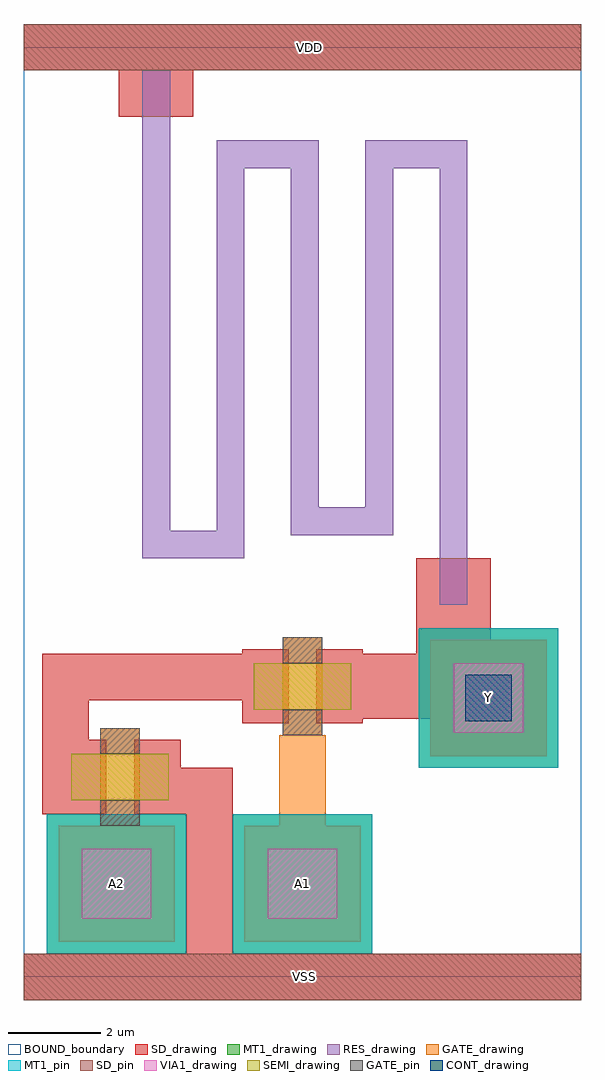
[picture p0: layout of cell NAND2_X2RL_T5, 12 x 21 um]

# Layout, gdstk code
import gdstk
lib = gdstk.Library(unit=1e-6, precision=1e-09)
def R(c, l, rs):  # rectangles x0, y0, x1, y1
    for r in rs: c.add(gdstk.rectangle(r[:2], r[2:], *l))
def P(c, l, *ps):  # polygons
    for p in ps: c.add(gdstk.Polygon(p, *l))
RES_drawing = (1, 0)
SEMI_drawing = (3, 0)
SD_drawing = (10, 0)
SD_pin = (10, 3)
GATE_drawing = (11, 0)
GATE_pin = (11, 3)
MT1_drawing = (20, 0)
MT1_pin = (20, 3)
CONT_drawing = (30, 0)
VIA1_drawing = (41, 0)
BOUND_boundary = (150, 5)

nch_cdns_772545006170 = lib.new_cell('nch_CDNS_772545006170')
R(nch_cdns_772545006170, SEMI_drawing, [(-1.05,-0.5,1.05,0.5)])
R(nch_cdns_772545006170, SD_drawing, [(-1.3,-0.8,-0.3,0.8), (0.3,-0.8,1.3,0.8)])
R(nch_cdns_772545006170, GATE_drawing, [(-0.425,-1.05,0.425,1.05)])
R(nch_cdns_772545006170, GATE_pin, [(-0.425,-1.05,0.425,-0.5), (-0.425,0.5,0.425,1.05)])

gate_mt1_cdns_7725450061 = lib.new_cell('GATE_MT1_CDNS_772545006170')
R(gate_mt1_cdns_7725450061, GATE_drawing, [(-1.25,-1.25,1.25,1.25)])
R(gate_mt1_cdns_7725450061, MT1_drawing, [(-1.25,-1.25,1.25,1.25)])
R(gate_mt1_cdns_7725450061, VIA1_drawing, [(-0.75,-0.75,0.75,0.75)])

sd_gate_cdns_77254500617 = lib.new_cell('SD_GATE_CDNS_772545006171')
R(sd_gate_cdns_77254500617, SD_drawing, [(-1,-1,1,1)])
R(sd_gate_cdns_77254500617, GATE_drawing, [(-1,-1,1,1)])
R(sd_gate_cdns_77254500617, CONT_drawing, [(-0.5,-0.5,0.5,0.5)])

nand2_x2rl_t5 = lib.new_cell('NAND2_X2RL_T5')
R(nand2_x2rl_t5, SD_drawing, [(8.75,4.75,11.25,7.25), (8.45,6.95,10.05,7.5), (8.45,7.5,10.05,9), (2.05,18.5,3.65,20)])
R(nand2_x2rl_t5, SD_pin, [(0,-0.5,12,0.5), (0,19.5,12,20.5)])
P(nand2_x2rl_t5, GATE_drawing, [(5.5,5.1),(6.5,5.1),(6.5,5.2),(6.375,5.2),(6.375,5.25),(5.625,5.25),(5.625,5.2),(5.5,5.2)],
  [(1.55,3.15),(2.55,3.15),(2.55,3.25),(2.45,3.25),(2.45,3.3),(1.7,3.3),(1.7,3.25),(1.55,3.25)])
R(nand2_x2rl_t5, MT1_drawing, [(0.5,0.5,3.5,3.5), (4.5,0.5,7.5,3.5), (8.5,4.5,11.5,7.5)])
R(nand2_x2rl_t5, MT1_pin, [(0.5,0.5,3.5,3.5), (4.5,0.5,7.5,3.5), (8.5,4.5,11.5,7.5)])
R(nand2_x2rl_t5, BOUND_boundary, [(0,0,12,20)])
nand2_x2rl_t5.add(gdstk.FlexPath([(2.85,19.5),(2.85,9.3),(4.45,9.3),(4.45,17.7),(6.05,17.7),(6.05,9.8),(7.65,9.8),(7.65,17.7),(9.25,17.7),(9.25,8)], 0.6, ends="flush", simple_path=True, layer=1, datatype=0))  # RES_drawing
nand2_x2rl_t5.add(gdstk.FlexPath([(0.9,6.45),(4.7,6.45)], 1, ends=(0.5, 0), simple_path=True, layer=10, datatype=0))  # SD_drawing
nand2_x2rl_t5.add(gdstk.FlexPath([(7.3,6.25),(9.5,6.25)], 1.4, ends="flush", simple_path=True, layer=10, datatype=0))  # SD_drawing
nand2_x2rl_t5.add(gdstk.FlexPath([(4,4),(4,0.5)], 1, ends=(0.5, 0), simple_path=True, layer=10, datatype=0))  # SD_drawing
nand2_x2rl_t5.add(gdstk.FlexPath([(2.775,4),(4,4)], 1, ends=(0, 0.5), simple_path=True, layer=10, datatype=0))  # SD_drawing
nand2_x2rl_t5.add(gdstk.FlexPath([(0.9,3.5),(0.9,6.45)], 1, ends=(0, 0.5), simple_path=True, layer=10, datatype=0))  # SD_drawing
nand2_x2rl_t5.add(gdstk.FlexPath([(0,0),(12,0)], 1, ends="flush", simple_path=True, layer=10, datatype=0))  # SD_drawing
nand2_x2rl_t5.add(gdstk.FlexPath([(0,20),(12,20)], 1, ends="flush", simple_path=True, layer=10, datatype=0))  # SD_drawing
nand2_x2rl_t5.add(gdstk.FlexPath([(6,5.1),(6,2)], 1, ends="flush", simple_path=True, layer=11, datatype=0))  # GATE_drawing
nand2_x2rl_t5.add(gdstk.Reference(nch_cdns_772545006170, (2.075,4.3)))
nand2_x2rl_t5.add(gdstk.Reference(nch_cdns_772545006170, (6,6.25)))
nand2_x2rl_t5.add(gdstk.Reference(gate_mt1_cdns_7725450061, (2,2)))
nand2_x2rl_t5.add(gdstk.Reference(gate_mt1_cdns_7725450061, (6,2)))
nand2_x2rl_t5.add(gdstk.Reference(gate_mt1_cdns_7725450061, (10,6)))
nand2_x2rl_t5.add(gdstk.Reference(sd_gate_cdns_77254500617, (10,6)))
nand2_x2rl_t5.add(gdstk.Label('VDD', (6.15,20), layer=10, texttype=3))
nand2_x2rl_t5.add(gdstk.Label('VSS', (6.05,0), layer=10, texttype=3))
nand2_x2rl_t5.add(gdstk.Label('A1', (6,2), layer=20, texttype=3))
nand2_x2rl_t5.add(gdstk.Label('Y', (10,6), layer=20, texttype=3))
nand2_x2rl_t5.add(gdstk.Label('A2', (2,2), layer=20, texttype=3))

lib.write_gds('NAND2_X2RL_T5.gds')
